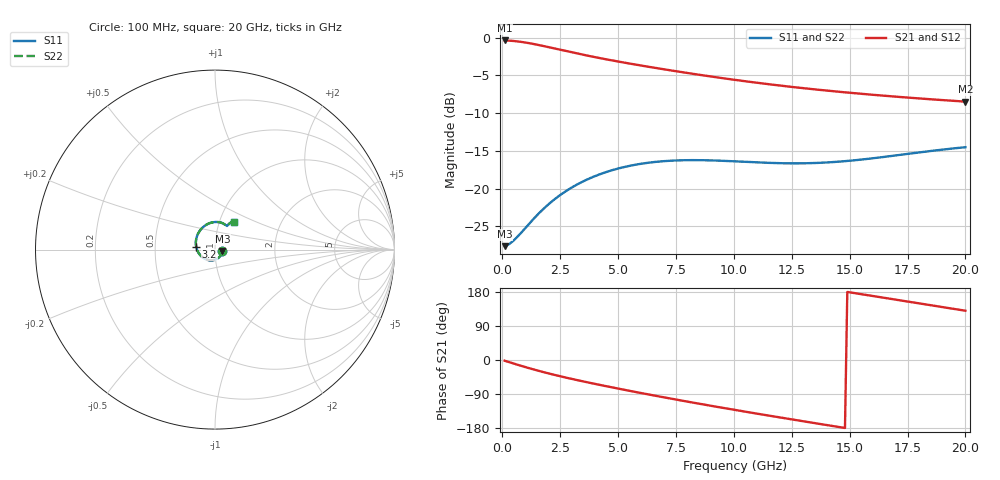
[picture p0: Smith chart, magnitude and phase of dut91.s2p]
! Created with skrf 1.9.0 (http://scikit-rf.org).
# GHz S RI R 50.0
!freq ReS11 ImS11 ReS21 ImS21 ReS12 ImS12 ReS22 ImS22
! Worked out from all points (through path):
!   200 points, 100 MHz to 20 GHz, reference 50 ohm
!   highest |S21| = -0.37 dB at 100 MHz (marker M1); lowest = -8.5 dB at 20 GHz (marker M2)
!   group delay of S21, straight-line fit = 30.4 ps
!   lowest |S11| = -27.6 dB at 100 MHz (marker M3), VSWR 1.09, Z = 54.3 - j0.801 ohm
!   |S11| at or under -10 dB: start of sweep to end of sweep
!   |S22| runs from -27.6 to -14.5 dB; largest |S21 - S12| = 2.6e-15
!   S11 on the Smith chart (normalised r, x): 100 MHz: 1.09, -0.02; 3.2 GHz: 0.81, +0.03; 20 GHz: 1.17, +0.38
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0.1  0.0409 -0.00737  0.9578 -0.0319  0.9578 -0.0319  0.0409 -0.00737
0.4  0.035 -0.0268  0.9446 -0.1276  0.9446 -0.1276  0.035 -0.0268
0.8  0.0166 -0.0479  0.9059 -0.2456  0.9059 -0.2456  0.0166 -0.0479
1.2  -0.0094 -0.0587  0.8487 -0.3484  0.8487 -0.3484  -0.0094 -0.0587
1.6  -0.0373 -0.0581  0.7796 -0.4336  0.7796 -0.4336  -0.0373 -0.0581
2.3  -0.0785 -0.035  0.6471 -0.5428  0.6471 -0.5428  -0.0785 -0.035
2.7  -0.0941 -0.014  0.5707 -0.5864  0.5707 -0.5864  -0.0941 -0.014
3.2  -0.1047 0.0153  0.4776 -0.6258  0.4776 -0.6258  -0.1047 0.0153
3.5  -0.1068 0.0332  0.4235 -0.6429  0.4235 -0.6429  -0.1068 0.0332
4.2  -0.1013 0.0719  0.3029 -0.6672  0.3029 -0.6672  -0.1013 0.0719
5  -0.0828 0.1076  0.175 -0.6727  0.175 -0.6727  -0.0828 0.1076
5.9  -0.0542 0.1348  0.0445 -0.6559  0.0445 -0.6559  -0.0542 0.1348
6.8  -0.0241 0.1493  -0.0705 -0.6195  -0.0705 -0.6195  -0.0241 0.1493
8.4  0.0208 0.1529  -0.2345 -0.5204  -0.2345 -0.5204  0.0208 0.1529
9.2  0.0367 0.149  -0.297 -0.46  -0.297 -0.46  0.0367 0.149
10.1  0.0495 0.1431  -0.3526 -0.3875  -0.3526 -0.3875  0.0495 0.1431
11.7  0.0617 0.1342  -0.4165 -0.2534  -0.4165 -0.2534  0.0617 0.1342
13.4  0.0668 0.1316  -0.4417 -0.113  -0.4417 -0.113  0.0668 0.1316
15  0.0706 0.1356  -0.4314 0.0104  -0.4314 0.0104  0.0706 0.1356
16.7  0.0781 0.1438  -0.3899 0.1264  -0.3899 0.1264  0.0781 0.1438
18.4  0.0904 0.1518  -0.3229 0.2216  -0.3229 0.2216  0.0904 0.1518
20  0.1051 0.1559  -0.2425 0.2884  -0.2425 0.2884  0.1051 0.1559
